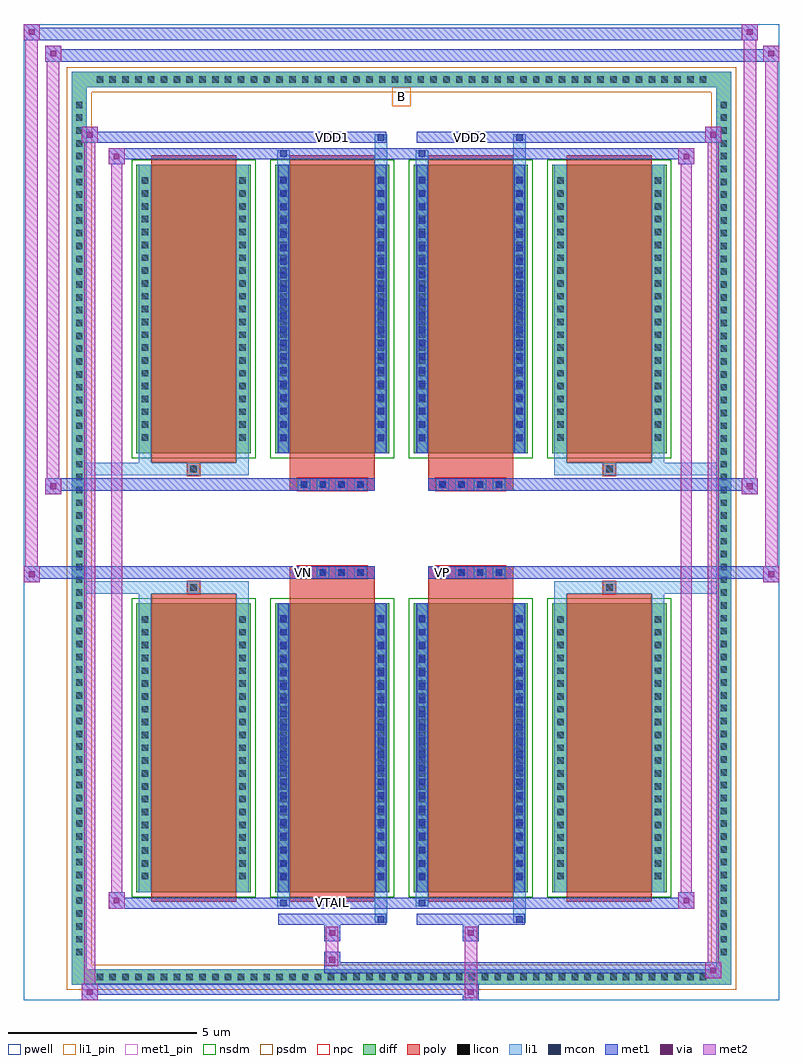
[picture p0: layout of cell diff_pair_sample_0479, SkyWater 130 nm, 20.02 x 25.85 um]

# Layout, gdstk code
import gdstk
lib = gdstk.Library(unit=1e-6, precision=5e-09)
def R(c, l, rs):  # rectangles x0, y0, x1, y1
    for r in rs: c.add(gdstk.rectangle(r[:2], r[2:], *l))
def A(c, l, x, y, w, h, nx, ny, dx, dy):  # array of equal rectangles
    R(c, l, [(x+i*dx, y+j*dy, x+i*dx+w, y+j*dy+h) for i in range(nx) for j in range(ny)])
def P(c, l, *ps):  # polygons
    for p in ps: c.add(gdstk.Polygon(p, *l))
pwell = (64, 44)
diff = (65, 20)
poly = (66, 20)
licon = (66, 44)
li1_pin = (67, 16)
li1 = (67, 20)
mcon = (67, 44)
met1_pin = (68, 16)
met1 = (68, 20)
via = (68, 44)
met2 = (69, 20)
nsdm = (93, 44)
psdm = (94, 20)
npc = (95, 20)

diff_pair_sample_0479 = lib.new_cell('diff_pair_sample_0479')
R(diff_pair_sample_0479, pwell, [(-10.01,-12.49,10.01,13.36), (-7.33,-10.68,-0.01,-0.8), (0.01,-10.68,7.33,-0.8), (-7.33,0.8,-0.01,10.68), (0.01,0.8,7.33,10.68)])
A(diff_pair_sample_0479, diff, -8.195, -12.09, 0.41, 0.41, 48, 2, 0.34, 23.77)
A(diff_pair_sample_0479, diff, -8.74, -11.425, 0.41, 0.41, 1, 67, 0, 0.34)
A(diff_pair_sample_0479, diff, 8.33, -11.425, 0.41, 0.41, 1, 67, 0, 0.34)
A(diff_pair_sample_0479, diff, -7.02, -9.635, 3.03, 7.65, 4, 2, 3.67, 11.62)
R(diff_pair_sample_0479, diff, [(-8.195,-12.09,8.195,-11.68), (-8.74,-11.425,-8.33,11.425), (8.33,-11.425,8.74,11.425), (-8.195,11.68,8.195,12.09)])
P(diff_pair_sample_0479, diff, [(8.74,12.09),(-8.74,12.09),(-8.74,-11.68),(-8.33,-11.68),(-8.33,11.68),(8.33,11.68),(8.33,-11.68),(-8.33,-11.68),(-8.74,-11.68),(-8.74,-12.09),(8.74,-12.09)])
A(diff_pair_sample_0479, poly, -6.63, -9.885, 2.25, 8.15, 4, 2, 3.67, 11.62)
A(diff_pair_sample_0479, poly, -2.75, -1.33, 0.33, 0.33, 4, 2, 0.5, 2.33)
A(diff_pair_sample_0479, poly, 0.92, -1.33, 0.33, 0.33, 4, 2, 0.5, 2.33)
R(diff_pair_sample_0479, poly, [(-5.67,-1.735,-5.34,-1.405), (-5.67,-1.735,-5.34,-1.405), (-2.96,-1.735,-0.71,-1.33), (0.71,-1.735,2.96,-1.33), (5.34,-1.735,5.67,-1.405), (5.34,-1.735,5.67,-1.405), (-2.96,-1.33,-0.71,-1), (0.71,-1.33,2.96,-1), (-2.96,1,-0.71,1.33), (0.71,1,2.96,1.33), (-2.96,1.33,-0.71,1.735), (0.71,1.33,2.96,1.735), (-5.67,1.405,-5.34,1.735), (-5.67,1.405,-5.34,1.735), (5.34,1.405,5.67,1.735), (5.34,1.405,5.67,1.735)])
A(diff_pair_sample_0479, licon, -8.075, -11.97, 0.17, 0.17, 48, 2, 0.34, 23.77)
A(diff_pair_sample_0479, licon, -8.62, -11.305, 0.17, 0.17, 1, 67, 0, 0.34)
A(diff_pair_sample_0479, licon, 8.45, -11.305, 0.17, 0.17, 1, 67, 0, 0.34)
A(diff_pair_sample_0479, licon, -6.88, -9.295, 0.17, 0.17, 1, 21, 0, 0.34)
A(diff_pair_sample_0479, licon, -4.3, -9.295, 0.17, 0.17, 1, 21, 0, 0.34)
A(diff_pair_sample_0479, licon, -3.21, -9.295, 0.17, 0.17, 1, 21, 0, 0.34)
A(diff_pair_sample_0479, licon, -0.63, -9.295, 0.17, 0.17, 1, 21, 0, 0.34)
A(diff_pair_sample_0479, licon, 0.46, -9.295, 0.17, 0.17, 1, 21, 0, 0.34)
A(diff_pair_sample_0479, licon, 3.04, -9.295, 0.17, 0.17, 1, 21, 0, 0.34)
A(diff_pair_sample_0479, licon, 4.13, -9.295, 0.17, 0.17, 1, 21, 0, 0.34)
A(diff_pair_sample_0479, licon, 6.71, -9.295, 0.17, 0.17, 1, 21, 0, 0.34)
A(diff_pair_sample_0479, licon, -2.67, -1.25, 0.17, 0.17, 4, 2, 0.5, 2.33)
A(diff_pair_sample_0479, licon, 1, -1.25, 0.17, 0.17, 4, 2, 0.5, 2.33)
A(diff_pair_sample_0479, licon, -6.88, 2.325, 0.17, 0.17, 1, 21, 0, 0.34)
A(diff_pair_sample_0479, licon, -4.3, 2.325, 0.17, 0.17, 1, 21, 0, 0.34)
A(diff_pair_sample_0479, licon, -3.21, 2.325, 0.17, 0.17, 1, 21, 0, 0.34)
A(diff_pair_sample_0479, licon, -0.63, 2.325, 0.17, 0.17, 1, 21, 0, 0.34)
A(diff_pair_sample_0479, licon, 0.46, 2.325, 0.17, 0.17, 1, 21, 0, 0.34)
A(diff_pair_sample_0479, licon, 3.04, 2.325, 0.17, 0.17, 1, 21, 0, 0.34)
A(diff_pair_sample_0479, licon, 4.13, 2.325, 0.17, 0.17, 1, 21, 0, 0.34)
A(diff_pair_sample_0479, licon, 6.71, 2.325, 0.17, 0.17, 1, 21, 0, 0.34)
R(diff_pair_sample_0479, licon, [(-5.59,-1.655,-5.42,-1.485), (5.42,-1.655,5.59,-1.485), (-5.59,1.485,-5.42,1.655), (5.42,1.485,5.59,1.655)])
R(diff_pair_sample_0479, li1_pin, [(-0.25,11.18,0.25,11.68)])
A(diff_pair_sample_0479, li1, -8.155, -12.05, 0.33, 0.33, 48, 2, 0.34, 23.77)
A(diff_pair_sample_0479, li1, -8.7, -11.385, 0.33, 0.33, 1, 67, 0, 0.34)
A(diff_pair_sample_0479, li1, 8.37, -11.385, 0.33, 0.33, 1, 67, 0, 0.34)
A(diff_pair_sample_0479, li1, -6.96, -9.375, 0.33, 0.33, 1, 21, 0, 0.34)
A(diff_pair_sample_0479, li1, -4.38, -9.375, 0.33, 0.33, 1, 21, 0, 0.34)
A(diff_pair_sample_0479, li1, -3.29, -9.375, 0.33, 0.33, 1, 21, 0, 0.34)
A(diff_pair_sample_0479, li1, -0.71, -9.375, 0.33, 0.33, 1, 21, 0, 0.34)
A(diff_pair_sample_0479, li1, 0.38, -9.375, 0.33, 0.33, 1, 21, 0, 0.34)
A(diff_pair_sample_0479, li1, 2.96, -9.375, 0.33, 0.33, 1, 21, 0, 0.34)
A(diff_pair_sample_0479, li1, 4.05, -9.375, 0.33, 0.33, 1, 21, 0, 0.34)
A(diff_pair_sample_0479, li1, 6.63, -9.375, 0.33, 0.33, 1, 21, 0, 0.34)
A(diff_pair_sample_0479, li1, -3.21, -9.315, 0.17, 0.17, 1, 20, 0, 0.36)
A(diff_pair_sample_0479, li1, -0.63, -9.315, 0.17, 0.17, 1, 20, 0, 0.36)
A(diff_pair_sample_0479, li1, 0.46, -9.315, 0.17, 0.17, 1, 20, 0, 0.36)
A(diff_pair_sample_0479, li1, 3.04, -9.315, 0.17, 0.17, 1, 20, 0, 0.36)
A(diff_pair_sample_0479, li1, -2.75, -1.33, 0.33, 0.33, 4, 2, 0.5, 2.33)
A(diff_pair_sample_0479, li1, 0.92, -1.33, 0.33, 0.33, 4, 2, 0.5, 2.33)
A(diff_pair_sample_0479, li1, -6.96, 2.245, 0.33, 0.33, 1, 21, 0, 0.34)
A(diff_pair_sample_0479, li1, -4.38, 2.245, 0.33, 0.33, 1, 21, 0, 0.34)
A(diff_pair_sample_0479, li1, -3.29, 2.245, 0.33, 0.33, 1, 21, 0, 0.34)
A(diff_pair_sample_0479, li1, -0.71, 2.245, 0.33, 0.33, 1, 21, 0, 0.34)
A(diff_pair_sample_0479, li1, 0.38, 2.245, 0.33, 0.33, 1, 21, 0, 0.34)
A(diff_pair_sample_0479, li1, 2.96, 2.245, 0.33, 0.33, 1, 21, 0, 0.34)
A(diff_pair_sample_0479, li1, 4.05, 2.245, 0.33, 0.33, 1, 21, 0, 0.34)
A(diff_pair_sample_0479, li1, 6.63, 2.245, 0.33, 0.33, 1, 21, 0, 0.34)
A(diff_pair_sample_0479, li1, -3.21, 2.305, 0.17, 0.17, 1, 20, 0, 0.36)
A(diff_pair_sample_0479, li1, -0.63, 2.305, 0.17, 0.17, 1, 20, 0, 0.36)
A(diff_pair_sample_0479, li1, 0.46, 2.305, 0.17, 0.17, 1, 20, 0, 0.36)
A(diff_pair_sample_0479, li1, 3.04, 2.305, 0.17, 0.17, 1, 20, 0, 0.36)
R(diff_pair_sample_0479, li1, [(-8.74,-12.09,-8.33,-11.68), (-8.74,-12.09,-8.33,-11.68), (-8.33,-12.09,8.33,-11.68), (8.33,-12.09,8.74,-11.68), (8.33,-12.09,8.74,-11.68), (-8.74,-11.68,-8.33,11.68), (8.33,-11.68,8.74,11.68), (-0.71,-10.44,-0.38,-9.635), (-0.63,-10.44,-0.46,-10.27), (2.96,-10.44,3.29,-9.635), (3.04,-10.44,3.21,-10.27), (-3.29,-10.01,-2.96,-9.635), (-3.21,-10.01,-3.04,-9.84), (0.38,-10.01,0.71,-9.635), (0.46,-10.01,0.63,-9.84), (-6.96,-9.635,-6.63,-1.985), (-4.38,-9.635,-4.05,-1.985), (-3.29,-9.635,-2.96,-1.985), (-0.71,-9.635,-0.38,-1.985), (0.38,-9.635,0.71,-1.985), (2.96,-9.635,3.29,-1.985), (4.05,-9.635,4.38,-1.985), (6.63,-9.635,6.96,-1.985), (-3.21,-9.315,-3.04,-2.305), (-0.63,-9.315,-0.46,-2.305), (0.46,-9.315,0.63,-2.305), (3.04,-9.315,3.21,-2.305), (-6.96,-1.985,-6.63,-1.405), (-4.38,-1.985,-4.05,-1.405), (4.05,-1.985,4.38,-1.405), (6.63,-1.985,6.96,-1.405), (-8.74,-1.735,-5.67,-1.405), (-6.96,-1.735,-5.67,-1.405), (-5.67,-1.735,-5.34,-1.405), (-5.34,-1.735,-4.05,-1.405), (4.05,-1.735,5.34,-1.405), (5.34,-1.735,5.67,-1.405), (5.34,-1.735,8.74,-1.405), (5.67,-1.735,6.96,-1.405), (-8.74,1.405,-5.67,1.735), (-6.96,1.405,-5.67,1.735), (-6.96,1.405,-6.63,1.985), (-5.67,1.405,-5.34,1.735), (-5.34,1.405,-4.05,1.735), (-4.38,1.405,-4.05,1.985), (4.05,1.405,5.34,1.735), (4.05,1.405,4.38,1.985), (5.34,1.405,5.67,1.735), (5.34,1.405,8.74,1.735), (5.67,1.405,6.96,1.735), (6.63,1.405,6.96,1.985), (-6.96,1.985,-6.63,9.635), (-4.38,1.985,-4.05,9.635), (-3.29,1.985,-2.96,9.635), (-0.71,1.985,-0.38,9.635), (0.38,1.985,0.71,9.635), (2.96,1.985,3.29,9.635), (4.05,1.985,4.38,9.635), (6.63,1.985,6.96,9.635), (-3.21,2.305,-3.04,9.315), (-0.63,2.305,-0.46,9.315), (0.46,2.305,0.63,9.315), (3.04,2.305,3.21,9.315), (-3.29,9.635,-2.96,10.01), (-0.71,9.635,-0.38,10.44), (0.38,9.635,0.71,10.01), (2.96,9.635,3.29,10.44), (-3.21,9.84,-3.04,10.01), (0.46,9.84,0.63,10.01), (-0.63,10.27,-0.46,10.44), (3.04,10.27,3.21,10.44), (-8.74,11.68,-8.33,12.09), (-8.74,11.68,-8.33,12.09), (-8.33,11.68,8.33,12.09), (8.33,11.68,8.74,12.09), (8.33,11.68,8.74,12.09)])
A(diff_pair_sample_0479, mcon, -3.21, -9.315, 0.17, 0.17, 1, 20, 0, 0.36)
A(diff_pair_sample_0479, mcon, -0.63, -9.315, 0.17, 0.17, 1, 20, 0, 0.36)
A(diff_pair_sample_0479, mcon, 0.46, -9.315, 0.17, 0.17, 1, 20, 0, 0.36)
A(diff_pair_sample_0479, mcon, 3.04, -9.315, 0.17, 0.17, 1, 20, 0, 0.36)
A(diff_pair_sample_0479, mcon, -2.67, -1.25, 0.17, 0.17, 4, 2, 0.5, 2.33)
A(diff_pair_sample_0479, mcon, 1, -1.25, 0.17, 0.17, 4, 2, 0.5, 2.33)
A(diff_pair_sample_0479, mcon, -3.21, 2.305, 0.17, 0.17, 1, 20, 0, 0.36)
A(diff_pair_sample_0479, mcon, -0.63, 2.305, 0.17, 0.17, 1, 20, 0, 0.36)
A(diff_pair_sample_0479, mcon, 0.46, 2.305, 0.17, 0.17, 1, 20, 0, 0.36)
A(diff_pair_sample_0479, mcon, 3.04, 2.305, 0.17, 0.17, 1, 20, 0, 0.36)
R(diff_pair_sample_0479, mcon, [(-0.63,-10.44,-0.46,-10.27), (3.04,-10.44,3.21,-10.27), (-3.21,-10.01,-3.04,-9.84), (0.46,-10.01,0.63,-9.84), (-3.21,9.84,-3.04,10.01), (0.46,9.84,0.63,10.01), (-0.63,10.27,-0.46,10.44), (3.04,10.27,3.21,10.44)])
R(diff_pair_sample_0479, met1_pin, [(-1.97,-10.05,-1.7,-9.78), (-2.72,-1.29,-2.45,-1.02), (0.95,-1.29,1.22,-1.02), (-1.97,10.23,-1.7,10.5), (1.7,10.23,1.97,10.5)])
A(diff_pair_sample_0479, met1, -3.27, -9.375, 0.29, 0.29, 1, 20, 0, 0.36)
A(diff_pair_sample_0479, met1, -0.69, -9.375, 0.29, 0.29, 1, 20, 0, 0.36)
A(diff_pair_sample_0479, met1, 0.4, -9.375, 0.29, 0.29, 1, 20, 0, 0.36)
A(diff_pair_sample_0479, met1, 2.98, -9.375, 0.29, 0.29, 1, 20, 0, 0.36)
A(diff_pair_sample_0479, met1, -2.73, -1.31, 0.29, 0.29, 4, 2, 0.5, 2.33)
A(diff_pair_sample_0479, met1, 0.94, -1.31, 0.29, 0.29, 4, 2, 0.5, 2.33)
A(diff_pair_sample_0479, met1, -3.27, 2.245, 0.29, 0.29, 1, 20, 0, 0.36)
A(diff_pair_sample_0479, met1, -0.69, 2.245, 0.29, 0.29, 1, 20, 0, 0.36)
A(diff_pair_sample_0479, met1, 0.4, 2.245, 0.29, 0.29, 1, 20, 0, 0.36)
A(diff_pair_sample_0479, met1, 2.98, 2.245, 0.29, 0.29, 1, 20, 0, 0.36)
R(diff_pair_sample_0479, met1, [(-8.47,-12.49,-8.04,-12.06), (1.62,-12.49,2.05,-12.06), (-8.47,-12.35,2.05,-12.06), (8.04,-11.92,8.47,-11.49), (-2.05,-11.78,8.47,-11.49), (-2.05,-11.64,-1.62,-11.21), (-2.05,-10.93,-1.62,-10.5), (1.62,-10.93,2.05,-10.5), (-3.27,-10.5,-0.4,-10.21), (-0.69,-10.5,-0.4,-10.21), (0.4,-10.5,3.27,-10.21), (2.98,-10.5,3.27,-10.21), (-7.76,-10.07,-7.33,-9.64), (-7.76,-10.07,-3.27,-9.78), (-3.27,-10.07,-2.98,-9.78), (-3.27,-10.07,-0.4,-9.78), (-0.4,-10.07,0.4,-9.78), (0.4,-10.07,0.69,-9.78), (0.4,-10.07,3.27,-9.78), (3.27,-10.07,7.76,-9.78), (7.33,-10.07,7.76,-9.64), (-3.27,-9.635,-2.98,-1.985), (-0.69,-9.635,-0.4,-1.985), (0.4,-9.635,0.69,-1.985), (2.98,-9.635,3.27,-1.985), (-10.01,-1.43,-9.58,-1), (9.58,-1.43,10.01,-1), (-10.01,-1.33,-0.71,-1), (-2.96,-1.33,-0.71,-1), (0.71,-1.33,2.96,-1), (0.71,-1.33,10.01,-1), (-9.44,0.9,-9.01,1.33), (9.01,0.9,9.44,1.33), (-9.44,1,-2.96,1.33), (-2.96,1,-0.71,1.33), (0.71,1,2.96,1.33), (2.96,1,9.44,1.33), (-3.27,1.985,-2.98,9.635), (-0.69,1.985,-0.4,9.635), (0.4,1.985,0.69,9.635), (2.98,1.985,3.27,9.635), (-7.76,9.64,-7.33,10.07), (7.33,9.64,7.76,10.07), (-7.76,9.78,-3.27,10.07), (-3.27,9.78,-2.98,10.07), (-3.27,9.78,-0.4,10.07), (-0.4,9.78,0.4,10.07), (0.4,9.78,0.69,10.07), (0.4,9.78,3.27,10.07), (3.27,9.78,7.76,10.07), (-8.47,10.21,-8.04,10.64), (-8.47,10.21,-3.27,10.5), (-3.27,10.21,-0.4,10.5), (-0.69,10.21,-0.4,10.5), (0.4,10.21,3.27,10.5), (2.98,10.21,3.27,10.5), (3.27,10.21,8.47,10.5), (8.04,10.21,8.47,10.64), (-9.44,12.36,-9.01,12.79), (-9.44,12.36,-7.33,12.69), (-7.33,12.36,7.33,12.69), (7.33,12.36,10.01,12.69), (9.58,12.36,10.01,12.79), (-10.01,12.93,-9.58,13.36), (-10.01,12.93,-7.33,13.26), (-7.33,12.93,7.33,13.26), (7.33,12.93,9.44,13.26), (9.01,12.93,9.44,13.36)])
R(diff_pair_sample_0479, via, [(-8.33,-12.35,-8.18,-12.2), (1.76,-12.35,1.91,-12.2), (8.18,-11.78,8.33,-11.63), (-1.91,-11.5,-1.76,-11.35), (-1.91,-10.79,-1.76,-10.64), (1.76,-10.79,1.91,-10.64), (-7.62,-9.93,-7.47,-9.78), (7.47,-9.93,7.62,-9.78), (-9.87,-1.29,-9.72,-1.14), (9.72,-1.29,9.87,-1.14), (-9.3,1.04,-9.15,1.19), (9.15,1.04,9.3,1.19), (-7.62,9.78,-7.47,9.93), (7.47,9.78,7.62,9.93), (-8.33,10.35,-8.18,10.5), (8.18,10.35,8.33,10.5), (-9.3,12.5,-9.15,12.65), (9.72,12.5,9.87,12.65), (-9.87,13.07,-9.72,13.22), (9.15,13.07,9.3,13.22)])
R(diff_pair_sample_0479, met2, [(-8.47,-12.49,-8.04,-12.06), (-8.4,-12.49,-8.11,10.64), (-8.11,-12.49,-8.04,-12.06), (-8.42,-12.44,-8.09,-12.11), (1.67,-12.44,2,-12.11), (1.67,-12.11,2,-10.88), (8.04,-11.92,8.47,-11.49), (8.11,-11.92,8.4,10.64), (8.4,-11.92,8.47,-11.49), (8.09,-11.87,8.42,-11.54), (-2,-11.59,-1.67,-11.26), (-2,-11.26,-1.67,-10.88), (-2,-10.88,-1.67,-10.55), (1.67,-10.88,2,-10.55), (-7.76,-10.07,-7.33,-9.64), (-7.69,-10.07,-7.4,10.07), (-7.4,-10.07,-7.33,-9.64), (7.33,-10.07,7.76,-9.64), (7.4,-10.07,7.69,10.07), (7.69,-10.07,7.76,-9.64), (-7.71,-10.02,-7.38,-9.69), (7.38,-10.02,7.71,-9.69), (-10.01,-1.43,-9.58,-1), (-9.96,-1.43,-9.63,13.36), (-9.63,-1.43,-9.58,-1), (9.58,-1.43,10.01,-1), (9.63,-1.43,9.96,12.79), (9.96,-1.43,10.01,-1), (-9.96,-1.38,-9.63,-1.05), (9.63,-1.38,9.96,-1.05), (-9.44,0.9,-9.01,1.33), (-9.39,0.9,-9.06,12.79), (-9.06,0.9,-9.01,1.33), (9.01,0.9,9.44,1.33), (9.06,0.9,9.39,13.36), (9.39,0.9,9.44,1.33), (-9.39,0.95,-9.06,1.28), (9.06,0.95,9.39,1.28), (-7.76,9.64,-7.33,10.07), (-7.4,9.64,-7.33,10.07), (7.33,9.64,7.76,10.07), (7.69,9.64,7.76,10.07), (-7.71,9.69,-7.38,10.02), (7.38,9.69,7.71,10.02), (-8.47,10.21,-8.04,10.64), (-8.11,10.21,-8.04,10.64), (8.04,10.21,8.47,10.64), (8.4,10.21,8.47,10.64), (-8.42,10.26,-8.09,10.59), (8.09,10.26,8.42,10.59), (-9.44,12.36,-9.01,12.79), (-9.06,12.36,-9.01,12.79), (9.58,12.36,10.01,12.79), (9.96,12.36,10.01,12.79), (-9.39,12.41,-9.06,12.74), (9.63,12.41,9.96,12.74), (-10.01,12.93,-9.58,13.36), (-9.63,12.93,-9.58,13.36), (9.01,12.93,9.44,13.36), (9.39,12.93,9.44,13.36), (-9.96,12.98,-9.63,13.31), (9.06,12.98,9.39,13.31)])
A(diff_pair_sample_0479, nsdm, -7.15, -9.765, 3.29, 7.91, 4, 2, 3.67, 11.62)
P(diff_pair_sample_0479, psdm, [(8.87,12.22),(-8.87,12.22),(-8.87,-11.55),(-8.2,-11.55),(-8.2,11.55),(8.2,11.55),(8.2,-11.55),(-8.2,-11.55),(-8.87,-11.55),(-8.87,-12.22),(8.87,-12.22)])
A(diff_pair_sample_0479, npc, -2.77, -1.35, 0.37, 0.37, 4, 2, 0.5, 2.33)
A(diff_pair_sample_0479, npc, 0.9, -1.35, 0.37, 0.37, 4, 2, 0.5, 2.33)
R(diff_pair_sample_0479, npc, [(-5.69,-1.755,-5.32,-1.385), (5.32,-1.755,5.69,-1.385), (-2.77,-1.35,-1.9,-0.98), (-2.77,-1.35,-1.9,-0.98), (-2.27,-1.35,-1.4,-0.98), (-2.27,-1.35,-1.4,-0.98), (-1.77,-1.35,-0.9,-0.98), (-1.77,-1.35,-0.9,-0.98), (0.9,-1.35,1.77,-0.98), (0.9,-1.35,1.77,-0.98), (1.4,-1.35,2.27,-0.98), (1.4,-1.35,2.27,-0.98), (1.9,-1.35,2.77,-0.98), (1.9,-1.35,2.77,-0.98), (-2.77,0.98,-1.9,1.35), (-2.77,0.98,-1.9,1.35), (-2.27,0.98,-1.4,1.35), (-2.27,0.98,-1.4,1.35), (-1.77,0.98,-0.9,1.35), (-1.77,0.98,-0.9,1.35), (0.9,0.98,1.77,1.35), (0.9,0.98,1.77,1.35), (1.4,0.98,2.27,1.35), (1.4,0.98,2.27,1.35), (1.9,0.98,2.77,1.35), (1.9,0.98,2.77,1.35), (-5.69,1.385,-5.32,1.755), (5.32,1.385,5.69,1.755)])
diff_pair_sample_0479.add(gdstk.Label('VTAIL', (-1.835,-9.915), layer=68, texttype=5))
diff_pair_sample_0479.add(gdstk.Label('VN', (-2.585,-1.155), layer=68, texttype=5))
diff_pair_sample_0479.add(gdstk.Label('VP', (1.085,-1.155), layer=68, texttype=5))
diff_pair_sample_0479.add(gdstk.Label('B', (0,11.43), layer=67, texttype=5))
diff_pair_sample_0479.add(gdstk.Label('VDD2', (1.835,10.365), layer=68, texttype=5))
diff_pair_sample_0479.add(gdstk.Label('VDD1', (-1.835,10.365), layer=68, texttype=5))

lib.write_gds('diff_pair_sample_0479.gds')
